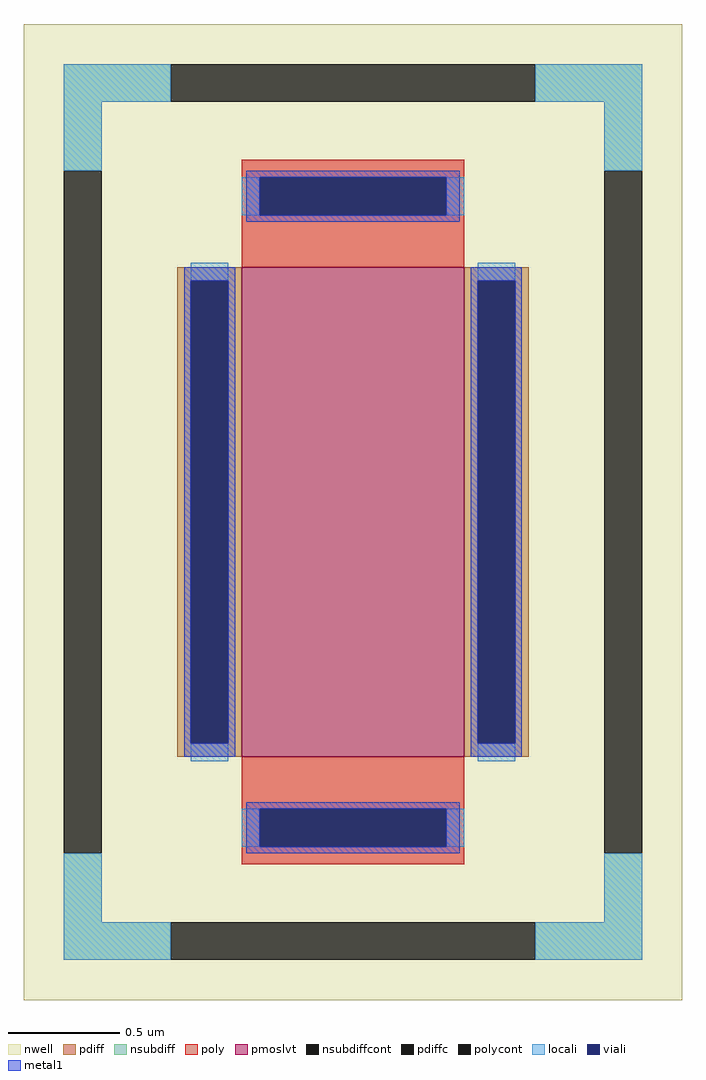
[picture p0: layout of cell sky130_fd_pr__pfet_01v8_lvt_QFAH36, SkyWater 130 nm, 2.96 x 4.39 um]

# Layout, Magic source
magic
tech sky130A
magscale 1 2
<< nwell >>
rect -296 -439 296 439
<< pmoslvt >>
rect -100 -220 100 220
<< pdiff >>
rect -158 208 -100 220
rect -158 -208 -146 208
rect -112 -208 -100 208
rect -158 -220 -100 -208
rect 100 208 158 220
rect 100 -208 112 208
rect 146 -208 158 208
rect 100 -220 158 -208
<< pdiffc >>
rect -146 -208 -112 208
rect 112 -208 146 208
<< nsubdiff >>
rect -260 369 -164 403
rect 164 369 260 403
rect -260 307 -226 369
rect 226 307 260 369
rect -260 -369 -226 -307
rect 226 -369 260 -307
rect -260 -403 -164 -369
rect 164 -403 260 -369
<< nsubdiffcont >>
rect -164 369 164 403
rect -260 -307 -226 307
rect 226 -307 260 307
rect -164 -403 164 -369
<< poly >>
rect -100 301 100 317
rect -100 267 -84 301
rect 84 267 100 301
rect -100 220 100 267
rect -100 -267 100 -220
rect -100 -301 -84 -267
rect 84 -301 100 -267
rect -100 -317 100 -301
<< polycont >>
rect -84 267 84 301
rect -84 -301 84 -267
<< locali >>
rect -260 369 -164 403
rect 164 369 260 403
rect -260 307 -226 369
rect 226 307 260 369
rect -100 267 -84 301
rect 84 267 100 301
rect -146 208 -112 224
rect -146 -224 -112 -208
rect 112 208 146 224
rect 112 -224 146 -208
rect -100 -301 -84 -267
rect 84 -301 100 -267
rect -260 -369 -226 -307
rect 226 -369 260 -307
rect -260 -403 -164 -369
rect 164 -403 260 -369
<< viali >>
rect -84 267 84 301
rect -146 -208 -112 208
rect 112 -208 146 208
rect -84 -301 84 -267
<< metal1 >>
rect -96 301 96 307
rect -96 267 -84 301
rect 84 267 96 301
rect -96 261 96 267
rect -152 208 -106 220
rect -152 -208 -146 208
rect -112 -208 -106 208
rect -152 -220 -106 -208
rect 106 208 152 220
rect 106 -208 112 208
rect 146 -208 152 208
rect 106 -220 152 -208
rect -96 -267 96 -261
rect -96 -301 -84 -267
rect 84 -301 96 -267
rect -96 -307 96 -301
<< properties >>
string FIXED_BBOX -243 -386 243 386
string gencell sky130_fd_pr__pfet_01v8_lvt
string library sky130
string parameters w 2.2 l 1.0 m 1 nf 1 diffcov 100 polycov 100 guard 1 glc 1 grc 1 gtc 1 gbc 1 tbcov 100 rlcov 100 topc 1 botc 1 poverlap 0 doverlap 1 lmin 0.35 wmin 0.42 class mosfet compatible {sky130_fd_pr__pfet_01v8  sky130_fd_pr__pfet_01v8_lvt sky130_fd_pr__pfet_01v8_hvt  sky130_fd_pr__pfet_g5v0d10v5} full_metal 1 viasrc 100 viadrn 100 viagate 100 viagb 0 viagr 0 viagl 0 viagt 0 ad {int((nf+1)/2) * W/nf * 0.29} as {int((nf+2)/2) * W/nf * 0.29} pd {2*int((nf+1)/2) * (W/nf + 0.29)} ps {2*int((nf+2)/2) * (W/nf + 0.29)} nrd {0.29 / W} nrs {0.29 / W} sa 0 sb 0 sd 0 mult 1
<< end >>
